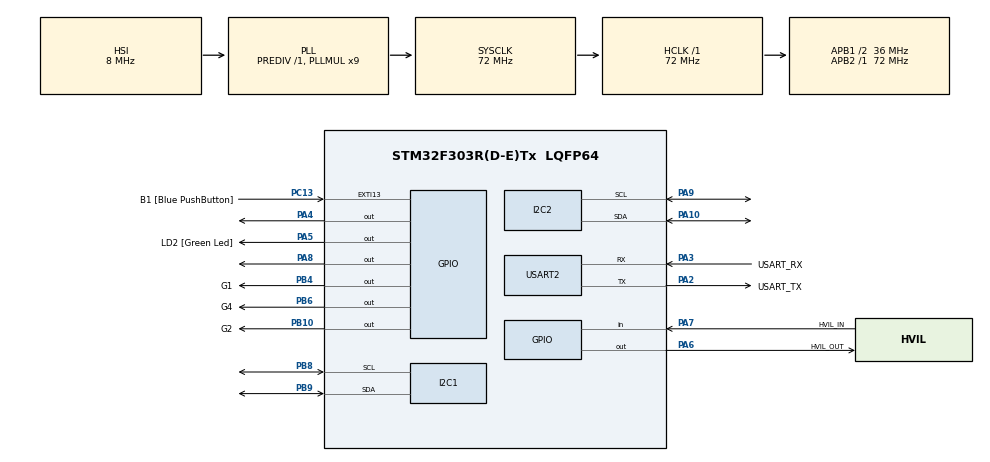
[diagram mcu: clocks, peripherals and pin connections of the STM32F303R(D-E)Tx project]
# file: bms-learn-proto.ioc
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Mcu.Family=STM32F3
Mcu.Name=STM32F303R(D-E)Tx
Mcu.Package=LQFP64
NVIC.PriorityGroup=NVIC_PRIORITYGROUP_0
PA10.GPIO_PuPdOD=GPIO_NOPULL
PA10.Mode=I2C
PA10.Signal=I2C2_SDA
PA13.GPIO_Label=TMS
PA13.Mode=Serial_Wire
PA13.Signal=SYS_JTMS-SWDIO
PA14.GPIO_Label=TCK
PA14.Mode=Serial_Wire
PA14.Signal=SYS_JTCK-SWCLK
PA2.GPIO_Label=USART_TX
PA2.GPIO_Mode=GPIO_MODE_AF_PP
PA2.GPIO_PuPd=GPIO_NOPULL
PA2.GPIO_Speed=GPIO_SPEED_FREQ_LOW
PA2.Mode=Asynchronous
PA2.Signal=USART2_TX
PA3.GPIO_Label=USART_RX
PA3.GPIO_Mode=GPIO_MODE_AF_PP
PA3.GPIO_PuPd=GPIO_NOPULL
PA3.GPIO_Speed=GPIO_SPEED_FREQ_LOW
PA3.Mode=Asynchronous
PA3.Signal=USART2_RX
PA4.Signal=GPIO_Output
PA5.GPIO_Label=LD2 [Green Led]
PA5.GPIO_Mode=GPIO_MODE_OUTPUT_PP
PA5.GPIO_PuPd=GPIO_NOPULL
PA5.GPIO_Speed=GPIO_SPEED_FREQ_LOW
PA5.Signal=GPIO_Output
PA6.GPIO_Label=HVIL_OUT
PA6.Signal=GPIO_Output
PA7.GPIO_Label=HVIL_IN
PA7.Signal=GPIO_Input
PA8.Signal=GPIO_Output
PA9.GPIO_PuPdOD=GPIO_NOPULL
PA9.Mode=I2C
PA9.Signal=I2C2_SCL
PB10.GPIO_Label=G2
PB10.Signal=GPIO_Output
PB3.GPIO_Label=SWO
PB3.Signal=SYS_JTDO-TRACESWO
PB4.GPIO_Label=G1
PB4.Signal=GPIO_Output
PB6.GPIO_Label=G4
PB6.Signal=GPIO_Output
PB8.GPIO_PuPdOD=GPIO_NOPULL
PB8.GPIO_Speed=GPIO_SPEED_FREQ_MEDIUM
PB8.Mode=I2C
PB8.Signal=I2C1_SCL
PB9.GPIO_PuPdOD=GPIO_NOPULL
PB9.GPIO_Speed=GPIO_SPEED_FREQ_MEDIUM
PB9.Mode=I2C
PB9.Signal=I2C1_SDA
PC13.GPIO_Label=B1 [Blue PushButton]
PC13.GPIO_ModeDefaultEXTI=GPIO_MODE_IT_FALLING
PC13.Signal=GPXTI13
PC14-OSC32_IN.Mode=LSE-External-Oscillator
PC14-OSC32_IN.Signal=RCC_OSC32_IN
PC15-OSC32_OUT.Mode=LSE-External-Oscillator
PC15-OSC32_OUT.Signal=RCC_OSC32_OUT
PF0-OSC_IN.Mode=HSE-External-Clock-Source
PF0-OSC_IN.Signal=RCC_OSC_IN
PF1-OSC_OUT.Signal=RCC_OSC_OUT
ProjectManager.HeapSize=0x200
ProjectManager.StackSize=0x400
ProjectManager.TargetToolchain=STM32CubeIDE
RCC.AHBFreq_Value=72000000
RCC.APB1CLKDivider=RCC_HCLK_DIV2
RCC.APB1Freq_Value=36000000
RCC.APB1TimFreq_Value=72000000
RCC.APB2Freq_Value=72000000
RCC.APB2TimFreq_Value=72000000
RCC.CortexFreq_Value=72000000
RCC.HCLKFreq_Value=72000000
RCC.HSE_VALUE=8000000
RCC.HSI_VALUE=8000000
RCC.PLLM=8
RCC.PLLMUL=RCC_PLL_MUL9
RCC.PLLN=336
RCC.PLLP=RCC_PLLP_DIV4
RCC.PLLQ=7
RCC.RCC_PLLsource_Clock_Source_FROM_HSE=RCC_HSE_PREDIV_DIV2
RCC.SYSCLKFreq_VALUE=72000000
RCC.SYSCLKSourceVirtual=RCC_SYSCLKSOURCE_PLLCLK
RCC.USBFreq_Value=72000000
USART2.VirtualMode-Asynchronous=VM_ASYNC
board=NUCLEO-F303RE

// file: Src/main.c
/* USER CODE BEGIN Header */
/**
  ******************************************************************************
  * @file           : main.c
  * @brief          : Main program body
  ******************************************************************************
  * @attention
  *
  * <h2><center>&copy; Copyright (c) 2021 STMicroelectronics.
  * All rights reserved.</center></h2>
  *
  * This software component is licensed by ST under BSD 3-Clause license,
  * the "License"; You may not use this file except in compliance with the
  * License. You may obtain a copy of the License at:
  *                        opensource.org/licenses/BSD-3-Clause
  *
  ******************************************************************************
  */
/* USER CODE END Header */

#include "main.h"

/* USER CODE BEGIN Includes */
#include "MCP342X.h"

/* USER CODE END Includes */

I2C_HandleTypeDef hi2c1;
I2C_HandleTypeDef hi2c2;
UART_HandleTypeDef huart2;

void SystemClock_Config(void);
static void MX_GPIO_Init(void);
static void MX_USART2_UART_Init(void);
static void MX_I2C2_Init(void);
static void MX_I2C1_Init(void);

int main(void)
{

  /* MCU Configuration--------------------------------------------------------*/

  /* Reset of all peripherals, Initializes the Flash interface and the Systick. */
  HAL_Init();

  /* Configure the system clock */
  SystemClock_Config();

  /* Initialize all configured peripherals */
  MX_GPIO_Init();
  MX_USART2_UART_Init();
  MX_I2C2_Init();
  MX_I2C1_Init();
  /* USER CODE BEGIN 2 */
  //Init the ADC peripheral
  Status adcStatus;
  adcStatus = MCP342X(&hi2c2);

  //Read voltage
  setConversionMode(ONE_SHOT);
  setSampleSetting(SAMPLE_15HZ_16BIT);
  Data adcData;
  float voltage;

  /* USER CODE END 2 */

  /* Infinite loop */
  while (1)
  {

    /* USER CODE BEGIN 3 */
	  //Read voltage
	setChannel(ADC_CH1);
	adcStatus = trigger();
	HAL_Delay(100);
	adcStatus = getData(&adcData);
	voltage = convertDataToVoltage(adcData);

	setChannel(ADC_CH2);
	adcStatus = trigger();
	HAL_Delay(100);
	adcStatus = getData(&adcData);
	voltage = convertDataToVoltage(adcData);

	setChannel(ADC_CH3);
	adcStatus = trigger();
	HAL_Delay(100);
	adcStatus = getData(&adcData);
	voltage = convertDataToVoltage(adcData);

	setChannel(ADC_CH4);
	adcStatus = trigger();
	HAL_Delay(100);
	adcStatus = getData(&adcData);
	voltage = convertDataToVoltage(adcData);

  }
  /* USER CODE END 3 */
}

void SystemClock_Config(void)
{
  RCC_OscInitTypeDef RCC_OscInitStruct = {0};
  RCC_ClkInitTypeDef RCC_ClkInitStruct = {0};
  RCC_PeriphCLKInitTypeDef PeriphClkInit = {0};

  /** Initializes the CPU, AHB and APB busses clocks
  */
  RCC_OscInitStruct.OscillatorType = RCC_OSCILLATORTYPE_HSI;
  RCC_OscInitStruct.HSIState = RCC_HSI_ON;
  RCC_OscInitStruct.HSICalibrationValue = RCC_HSICALIBRATION_DEFAULT;
  RCC_OscInitStruct.PLL.PLLState = RCC_PLL_ON;
  RCC_OscInitStruct.PLL.PLLSource = RCC_PLLSOURCE_HSI;
  RCC_OscInitStruct.PLL.PLLMUL = RCC_PLL_MUL9;
  RCC_OscInitStruct.PLL.PREDIV = RCC_PREDIV_DIV1;
  if (HAL_RCC_OscConfig(&RCC_OscInitStruct) != HAL_OK)
  {
    Error_Handler();
  }
  /** Initializes the CPU, AHB and APB busses clocks
  */
  RCC_ClkInitStruct.ClockType = RCC_CLOCKTYPE_HCLK|RCC_CLOCKTYPE_SYSCLK
                              |RCC_CLOCKTYPE_PCLK1|RCC_CLOCKTYPE_PCLK2;
  RCC_ClkInitStruct.SYSCLKSource = RCC_SYSCLKSOURCE_PLLCLK;
  RCC_ClkInitStruct.AHBCLKDivider = RCC_SYSCLK_DIV1;
  RCC_ClkInitStruct.APB1CLKDivider = RCC_HCLK_DIV2;
  RCC_ClkInitStruct.APB2CLKDivider = RCC_HCLK_DIV1;

  if (HAL_RCC_ClockConfig(&RCC_ClkInitStruct, FLASH_LATENCY_2) != HAL_OK)
  {
    Error_Handler();
  }
  PeriphClkInit.PeriphClockSelection = RCC_PERIPHCLK_USART2|RCC_PERIPHCLK_I2C1
                              |RCC_PERIPHCLK_I2C2;
  PeriphClkInit.Usart2ClockSelection = RCC_USART2CLKSOURCE_PCLK1;
  PeriphClkInit.I2c1ClockSelection = RCC_I2C1CLKSOURCE_HSI;
  PeriphClkInit.I2c2ClockSelection = RCC_I2C2CLKSOURCE_HSI;
  if (HAL_RCCEx_PeriphCLKConfig(&PeriphClkInit) != HAL_OK)
  {
    Error_Handler();
  }
}

static void MX_I2C1_Init(void)
{

  hi2c1.Instance = I2C1;
  hi2c1.Init.Timing = 0x2000090E;
  hi2c1.Init.OwnAddress1 = 0;
  hi2c1.Init.AddressingMode = I2C_ADDRESSINGMODE_7BIT;
  hi2c1.Init.DualAddressMode = I2C_DUALADDRESS_DISABLE;
  hi2c1.Init.OwnAddress2 = 0;
  hi2c1.Init.OwnAddress2Masks = I2C_OA2_NOMASK;
  hi2c1.Init.GeneralCallMode = I2C_GENERALCALL_DISABLE;
  hi2c1.Init.NoStretchMode = I2C_NOSTRETCH_DISABLE;
  if (HAL_I2C_Init(&hi2c1) != HAL_OK)
  {
    Error_Handler();
  }
  /** Configure Analogue filter
  */
  if (HAL_I2CEx_ConfigAnalogFilter(&hi2c1, I2C_ANALOGFILTER_ENABLE) != HAL_OK)
  {
    Error_Handler();
  }
  /** Configure Digital filter
  */
  if (HAL_I2CEx_ConfigDigitalFilter(&hi2c1, 0) != HAL_OK)
  {
    Error_Handler();
  }

}

static void MX_I2C2_Init(void)
{

  hi2c2.Instance = I2C2;
  hi2c2.Init.Timing = 0x2000090E;
  hi2c2.Init.OwnAddress1 = 0;
  hi2c2.Init.AddressingMode = I2C_ADDRESSINGMODE_7BIT;
  hi2c2.Init.DualAddressMode = I2C_DUALADDRESS_DISABLE;
  hi2c2.Init.OwnAddress2 = 0;
  hi2c2.Init.OwnAddress2Masks = I2C_OA2_NOMASK;
  hi2c2.Init.GeneralCallMode = I2C_GENERALCALL_DISABLE;
  hi2c2.Init.NoStretchMode = I2C_NOSTRETCH_DISABLE;
  if (HAL_I2C_Init(&hi2c2) != HAL_OK)
  {
    Error_Handler();
  }
  /** Configure Analogue filter
  */
  if (HAL_I2CEx_ConfigAnalogFilter(&hi2c2, I2C_ANALOGFILTER_ENABLE) != HAL_OK)
  {
    Error_Handler();
  }
  /** Configure Digital filter
  */
  if (HAL_I2CEx_ConfigDigitalFilter(&hi2c2, 0) != HAL_OK)
  {
    Error_Handler();
  }

}

static void MX_USART2_UART_Init(void)
{

  huart2.Instance = USART2;
  huart2.Init.BaudRate = 38400;
  huart2.Init.WordLength = UART_WORDLENGTH_8B;
  huart2.Init.StopBits = UART_STOPBITS_1;
  huart2.Init.Parity = UART_PARITY_NONE;
  huart2.Init.Mode = UART_MODE_TX_RX;
  huart2.Init.HwFlowCtl = UART_HWCONTROL_NONE;
  huart2.Init.OverSampling = UART_OVERSAMPLING_16;
  huart2.Init.OneBitSampling = UART_ONE_BIT_SAMPLE_DISABLE;
  huart2.AdvancedInit.AdvFeatureInit = UART_ADVFEATURE_NO_INIT;
  if (HAL_UART_Init(&huart2) != HAL_OK)
  {
    Error_Handler();
  }

}

static void MX_GPIO_Init(void)
{
  GPIO_InitTypeDef GPIO_InitStruct = {0};

  /* GPIO Ports Clock Enable */
  __HAL_RCC_GPIOC_CLK_ENABLE();
  __HAL_RCC_GPIOF_CLK_ENABLE();
  __HAL_RCC_GPIOA_CLK_ENABLE();
  __HAL_RCC_GPIOB_CLK_ENABLE();

  /*Configure GPIO pin Output Level */
  HAL_GPIO_WritePin(GPIOA, GPIO_PIN_4|LD2_Pin|HVIL_OUT_Pin|GPIO_PIN_8, GPIO_PIN_RESET);

  /*Configure GPIO pin Output Level */
  HAL_GPIO_WritePin(GPIOB, G2_Pin|G1_Pin|G4_Pin, GPIO_PIN_RESET);

  /*Configure GPIO pin : B1_Pin */
  GPIO_InitStruct.Pin = B1_Pin;
  GPIO_InitStruct.Mode = GPIO_MODE_IT_FALLING;
  GPIO_InitStruct.Pull = GPIO_NOPULL;
  HAL_GPIO_Init(B1_GPIO_Port, &GPIO_InitStruct);

  /*Configure GPIO pins : PA4 LD2_Pin HVIL_OUT_Pin PA8 */
  GPIO_InitStruct.Pin = GPIO_PIN_4|LD2_Pin|HVIL_OUT_Pin|GPIO_PIN_8;
  GPIO_InitStruct.Mode = GPIO_MODE_OUTPUT_PP;
  GPIO_InitStruct.Pull = GPIO_NOPULL;
  GPIO_InitStruct.Speed = GPIO_SPEED_FREQ_LOW;
  HAL_GPIO_Init(GPIOA, &GPIO_InitStruct);

  /*Configure GPIO pin : HVIL_IN_Pin */
  GPIO_InitStruct.Pin = HVIL_IN_Pin;
  GPIO_InitStruct.Mode = GPIO_MODE_INPUT;
  GPIO_InitStruct.Pull = GPIO_NOPULL;
  HAL_GPIO_Init(HVIL_IN_GPIO_Port, &GPIO_InitStruct);

  /*Configure GPIO pins : G2_Pin G1_Pin G4_Pin */
  GPIO_InitStruct.Pin = G2_Pin|G1_Pin|G4_Pin;
  GPIO_InitStruct.Mode = GPIO_MODE_OUTPUT_PP;
  GPIO_InitStruct.Pull = GPIO_NOPULL;
  GPIO_InitStruct.Speed = GPIO_SPEED_FREQ_LOW;
  HAL_GPIO_Init(GPIOB, &GPIO_InitStruct);

}

void Error_Handler(void)
{
}

/************************ (C) COPYRIGHT STMicroelectronics *****END OF FILE****/
